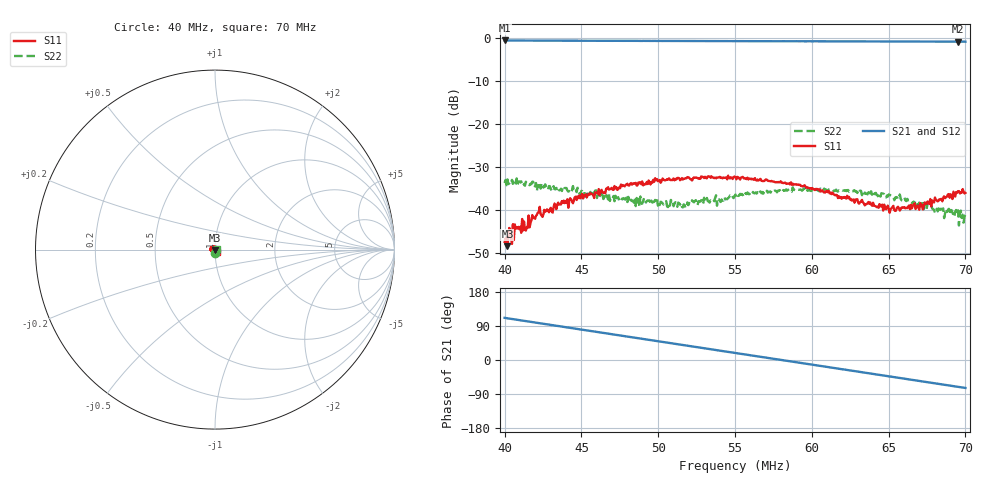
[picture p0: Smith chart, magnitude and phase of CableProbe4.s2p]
#  HZ  S  DB  R  50.00
! Rohde & Schwarz Vector Network Analyzer
! Rohde-Schwarz,ZNB8-4Port,1311601044102961,2.82
! Created: UTC 1/14/2019, 9:25:29 AM
! freq[Hz]  db:S11  ang:S11  db:S21  ang:S21  db:S12  ang:S12  db:S22  ang:S22
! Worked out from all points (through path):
!   500 points, 40 MHz to 70 MHz, reference 50 ohm
!   highest |S21| = -0.57 dB at 40 MHz (marker M1); lowest = -0.8 dB at 69.52 MHz (marker M2)
!   group delay of S21, straight-line fit = 17.1 ns
!   lowest |S11| = -48.4 dB at 40.18 MHz (marker M3), VSWR 1.01, Z = 49.8 - j0.302 ohm
!   |S11| at or under -10 dB: start of sweep to end of sweep
!   |S22| runs from -43.6 to -32.7 dB; largest |S21 - S12| = 0.0083
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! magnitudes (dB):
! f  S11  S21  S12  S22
! 40 MHz  -47.4  -0.6  -0.6  -33.7
! 40.18 MHz  -48.4  -0.6  -0.6  -32.9
! 40.54 MHz  -43.3  -0.6  -0.6  -33.9
! 40.78 MHz  -44.0  -0.6  -0.6  -32.7
! 41.38 MHz  -44.8  -0.6  -0.6  -33.4
! 42.16 MHz  -40.6  -0.6  -0.6  -34.3
! 42.46 MHz  -41.6  -0.6  -0.7  -34.0
! 43.85 MHz  -37.8  -0.6  -0.7  -35.2
! 45.05 MHz  -36.2  -0.6  -0.7  -35.6
! 48.66 MHz  -34.2  -0.7  -0.7  -38.6
! 50.04 MHz  -33.3  -0.7  -0.7  -38.1
! 51.72 MHz  -32.7  -0.7  -0.7  -38.9
! 52.32 MHz  -32.4  -0.7  -0.7  -38.2
! 53.95 MHz  -32.4  -0.7  -0.8  -37.5
! 55.03 MHz  -32.3  -0.7  -0.8  -36.4
! 60.02 MHz  -34.9  -0.8  -0.8  -35.3
! 65.01 MHz  -39.9  -0.8  -0.8  -36.4
! 66.87 MHz  -39.0  -0.8  -0.8  -38.8
! 67.66 MHz  -38.6  -0.8  -0.9  -38.6
! 67.96 MHz  -38.2  -0.8  -0.9  -39.9
! 69.52 MHz  -35.6  -0.8  -0.9  -40.1
! 70 MHz  -36.0  -0.8  -0.9  -41.1
